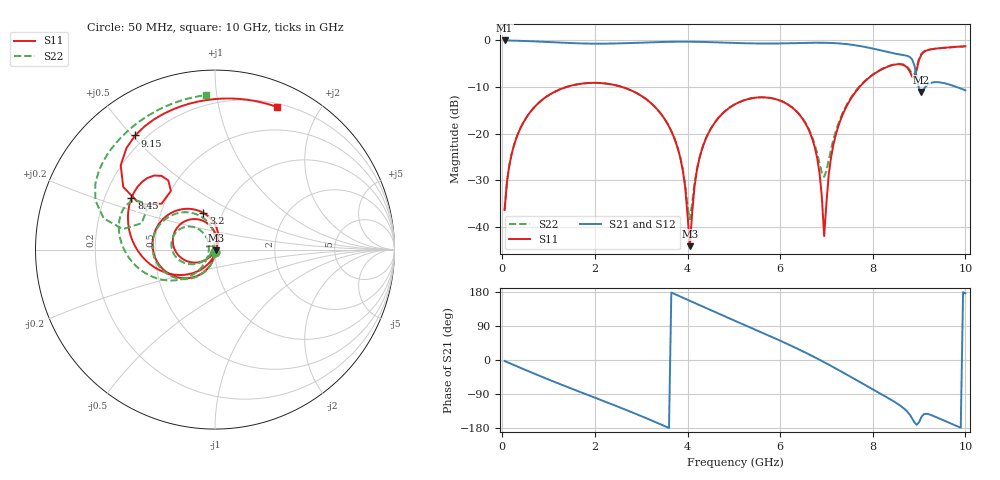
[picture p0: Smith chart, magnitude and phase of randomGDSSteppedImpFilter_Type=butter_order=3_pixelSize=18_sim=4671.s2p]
! freq	dB(S11)	phase(S11)	dB(S12)	phase(S12)
!  dB(S21)	phase(S21)	dB(S22)	phase(S22)
!S-par simulation data
#  GHz  S  DB  R 50
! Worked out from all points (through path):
!   200 points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, 50 MHz to 10 GHz, reference 50 ohm
!   highest |S21| = -0.01 dB at 50 MHz (marker M1); lowest = -11.1 dB at 9.05 GHz (marker M2)
!   group delay of S21, straight-line fit = 155 ps
!   lowest |S11| = -44.1 dB at 4.05 GHz (marker M3), VSWR 1.01, Z = 50.4 - j0.468 ohm
!   |S11| at or under -10 dB: start of sweep to 1.383 GHz; 2.59 GHz to 7.715 GHz (5.125 GHz wide, 99.5 % of centre)
!   |S22| runs from -38.4 to -1.3 dB; largest |S21 - S12| = 0
!   S11 on the Smith chart (normalised r, x): 50 MHz: 1.00, -0.03; 3.2 GHz: 0.81, +0.35; 8.45 GHz: 0.31, +0.26; 9.15 GHz: 0.16, +0.51; 10 GHz: 0.23, +1.50
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0.05  -36.38 -92.3  -0.01 -2.7  -0.01 -2.7  -36.38 -92.2
0.2  -24.47 -101.1  -0.03 -10.6  -0.03 -10.6  -24.47 -100.7
0.5  -16.85 -117.2  -0.12 -26.2  -0.12 -26.2  -16.85 -116.3
1.75  -9.23 -179.9  -0.66 -87.6  -0.66 -87.6  -9.23 -176.5
3.2  -13.35 107.7  -0.41 -158.3  -0.41 -158.3  -13.36 116.1
3.4  -15.43 96.8  -0.35 -168.7  -0.35 -168.7  -15.43 106.8
3.85  -25.47 69.9  -0.27 167.1  -0.27 167.1  -25.39 91.3
4.05  -44.15 -48.4  -0.28 156.2  -0.28 156.2  -38.38 165.7
4.3  -23.76 -129.2  -0.32 142.6  -0.32 142.6  -23.59 -132.8
5.05  -13.57 -172.6  -0.56 102.1  -0.56 102.1  -13.54 -164.7
6.05  -13.13 131.0  -0.64 48.3  -0.64 48.3  -13.11 147.3
6.7  -21.31 88.2  -0.50 10.1  -0.50 10.1  -20.96 125.1
6.85  -28.41 72.3  -0.50 0.7  -0.50 0.7  -26.30 138.9
6.95  -41.99 -4.3  -0.50 -5.8  -0.50 -5.8  -29.26 -179.9
7.1  -25.03 -107.3  -0.54 -15.6  -0.54 -15.6  -23.31 -131.8
7.3  -17.16 -125.6  -0.66 -29.1  -0.66 -29.1  -16.70 -128.1
8.35  -5.53 155.9  -2.55 -101.7  -2.55 -101.7  -5.46 173.0
8.45  -5.24 148.5  -2.77 -109.0  -2.77 -109.0  -5.18 166.7
8.85  -7.77 127.0  -4.08 -154.1  -4.08 -154.1  -7.15 150.1
9.05  -3.04 138.2  -11.08 -150.4  -11.08 -150.4  -2.85 157.7
9.15  -2.20 125.0  -9.83 -141.8  -9.83 -141.8  -2.13 145.8
10  -1.24 66.5  -10.72 176.3  -10.72 176.3  -1.29 93.2
